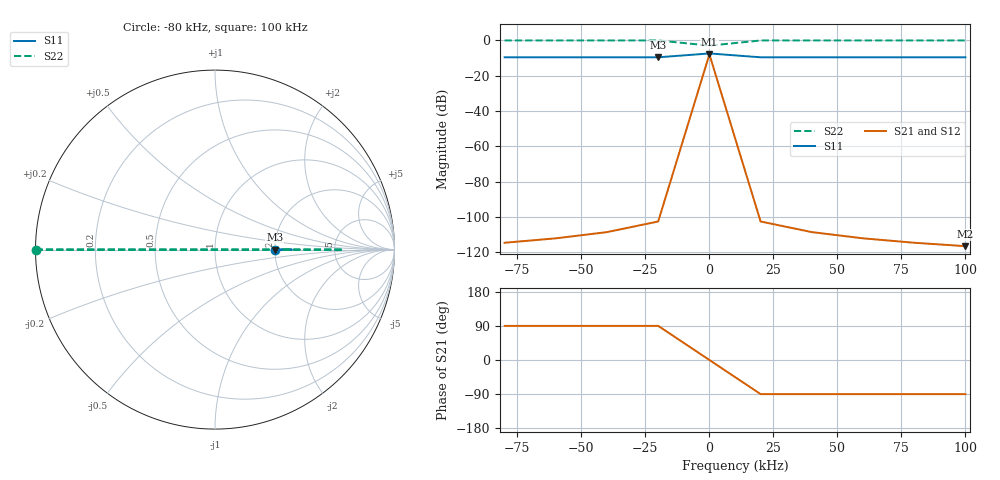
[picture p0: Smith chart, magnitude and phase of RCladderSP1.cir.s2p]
# Hz S RI R 100 50
!  Freq  ReS11  ImS11  ReS21  ImS21  ReS12  ImS12  ReS22  ImS22
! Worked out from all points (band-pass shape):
!   10 points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, -80 kHz to 100 kHz, reference 100 ohm
!   highest |S21| = -7.87 dB at 0 Hz (marker M1); lowest = -116.5 dB at 100 kHz (marker M2)
!   |S21| within 3 dB of the highest: -634.1 Hz to 634.1 Hz
!   lowest |S11| = -9.5 dB at -20 kHz (marker M3), VSWR 2.00, Z = 200 + j0.0207 ohm
!   |S11| at or under -10 dB: nowhere
!   |S22| runs from -2.9 to 0.0 dB; largest |S21 - S12| = 1e-18
-80000  0.3333 0.000177  -5.32e-10 1.87e-06  -5.32e-10 1.87e-06  -0.9992 7.95e-06
-60000  0.3333 0.000133  -5.25e-10 2.5e-06  -5.25e-10 2.5e-06  -0.9992 1.06e-05
-40000  0.3333 8.91e-05  -5.06e-10 3.75e-06  -5.06e-10 3.75e-06  -0.9992 1.59e-05
-20000  0.3333 4.59e-05  -4.01e-10 7.5e-06  -4.01e-10 7.5e-06  -0.9992 3.18e-05
0  0.4286 0  0.404 0  0.404 0  0.7143 0
20000  0.3333 -4.59e-05  -4.01e-10 -7.5e-06  -4.01e-10 -7.5e-06  -0.9992 -3.18e-05
40000  0.3333 -8.91e-05  -5.06e-10 -3.75e-06  -5.06e-10 -3.75e-06  -0.9992 -1.59e-05
60000  0.3333 -0.000133  -5.25e-10 -2.5e-06  -5.25e-10 -2.5e-06  -0.9992 -1.06e-05
80000  0.3333 -0.000177  -5.32e-10 -1.87e-06  -5.32e-10 -1.87e-06  -0.9992 -7.95e-06
100000  0.3333 -0.000221  -5.35e-10 -1.5e-06  -5.35e-10 -1.5e-06  -0.9992 -6.36e-06
